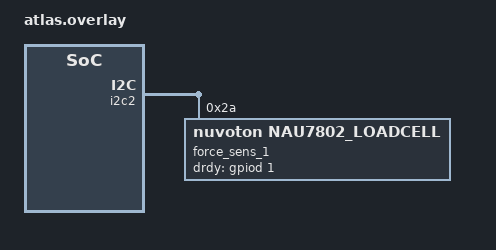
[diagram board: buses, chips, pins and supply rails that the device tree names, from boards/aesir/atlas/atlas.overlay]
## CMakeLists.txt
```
cmake_minimum_required(VERSION 3.20.0)

set(BOARD_ROOT ${CMAKE_CURRENT_LIST_DIR})
set(BOARD atlas)
set(DTC_OVERLAY_FILE ${CMAKE_CURRENT_LIST_DIR}/boards/aesir/atlas/atlas.overlay)

find_package(Zephyr)
project(atlas)


target_sources(app PRIVATE src/test.c)
```

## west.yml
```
manifest:
  remotes:
    - name: zephyrproject
      url-base: https://github.com/zephyrproject-rtos
    - name: zephyr_macos_stm32prog
      url-base: https://github.com/PepperoniPingu/

  projects:
    - name: zephyr
      remote: zephyr_macos_stm32prog
      revision: v4.2.0-macos-stm32prog
      path: ext/zephyr
      west-commands: scripts/west-commands.yml

    - name: cmsis
      remote: zephyrproject
      revision: 512cc7e895e8491696b61f7ba8066b4a182569b8
      path: ext/zephyr/modules/hal/cmsis
    - name: cmsis_6
      remote: zephyrproject
      repo-path: CMSIS_6
      revision: 06d952b6713a2ca41c9224a62075e4059402a151
      path: ext/zephyr/modules/hal/cmsis_6

    - name: hal_stm32
      remote: zephyrproject
      revision: 1e753266ddfb4b07a8a0b1ec566e9637ea45d5ef
      path: ext/zephyr/modules/hal/stm32

    # out of tree device driver
    - name: NAU7802_LOADCELL
      path: ext/modules/nau7802_loadcell
      revision: main
      url: https://github.com/TinNotTim/nau7802_loadcell_zephyr_driver

  self:
    path: .
```

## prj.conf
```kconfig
CONFIG_SERIAL=y
CONFIG_CONSOLE=y
CONFIG_UART_CONSOLE=y
CONFIG_UART_LINE_CTRL=y
CONFIG_USE_SEGGER_RTT=y
CONFIG_LOG_BACKEND_RTT=y


CONFIG_LOG=y
CONFIG_LOG_MODE_DEFERRED=y
CONFIG_LOG_PROCESS_TRIGGER_THRESHOLD=1
CONFIG_LOG_BUFFER_SIZE=4096

# Enable USB CDC console
CONFIG_USB_DEVICE_STACK=y
CONFIG_USB_DEVICE_PRODUCT="atlas load cell reader"
CONFIG_USB_DEVICE_VID=0x6969
CONFIG_USB_DEVICE_PID=0x6969
CONFIG_USB_CDC_ACM=y
CONFIG_USB_DEVICE_INITIALIZE_AT_BOOT=y
CONFIG_USB_CDC_ACM_LOG_LEVEL_DBG=y

CONFIG_CAN=y
CONFIG_CAN_FD_MODE=y

#NAU7802 LOADCELL
CONFIG_SENSOR=y
CONFIG_NAU7802_LOADCELL=y
# Interrupt triggered configuration
#CONFIG_NAU7802_LOADCELL_TRIGGER_NONE=y
#CONFIG_NAU7802_LOADCELL_TRIGGER_OWN_THREAD=y
CONFIG_NAU7802_LOADCELL_TRIGGER_GLOBAL_THREAD=y
#CONFIG_NAU7802_LOADCELL_TRIGGER_DIRECT=y
```

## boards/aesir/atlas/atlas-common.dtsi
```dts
/*
 * Copyright (c) 2021 Linaro Limited
 * Copyright (c) 2024 STMicroelectronics
 *
 * SPDX-License-Identifier: Apache-2.0
 */

#include <st/u5/stm32u575Xi.dtsi>
#include <st/u5/stm32u575zitxq-pinctrl.dtsi>
#include <zephyr/dt-bindings/input/input-event-codes.h>

&clk_hsi48 {
	status = "okay";
};

&clk_lse {
	status = "okay";
};

&clk_msis {
	status = "okay";
	msi-range = <4>;
	msi-pll-mode;
};

&pll1 {
	div-m = <1>;
	mul-n = <80>;
	div-q = <2>;
	div-r = <2>;
	clocks = <&clk_msis>;
	status = "okay";
};

&rcc {
	clocks = <&pll1>;
	clock-frequency = <DT_FREQ_M(160)>;
	ahb-prescaler = <1>;
	apb1-prescaler = <1>;
	apb2-prescaler = <1>;
	apb3-prescaler = <1>;
};

&lpuart1 {
	pinctrl-0 = <&lpuart1_tx_pg7 &lpuart1_rx_pg8>;
	pinctrl-names = "default";
	current-speed = <115200>;
	status = "okay";
};

&usart2 {
	pinctrl-0 = <&usart2_tx_pd5 &usart2_rx_pd6>;
	pinctrl-names = "default";
	current-speed = <115200>;
	status = "okay";
};

&i2c1 {
	pinctrl-0 = <&i2c1_scl_pb8 &i2c1_sda_pb9>;
	pinctrl-names = "default";
	status = "okay";
	clock-frequency = <I2C_BITRATE_FAST>;
};

&i2c2 {
	pinctrl-0 = <&i2c2_scl_pf1 &i2c2_sda_pf0>;
	pinctrl-names = "default";
	status = "okay";
	clock-frequency = <I2C_BITRATE_FAST>;
};

&spi1 {
	pinctrl-0 = <&spi1_nss_pa4 &spi1_sck_pa5
		     &spi1_miso_pa6 &spi1_mosi_pa7>;
	pinctrl-names = "default";
	status = "okay";
};

&dac1 {
	/* CAUTION: DAC on PA4 may conflict with SPI1 NSS on same pin */
	pinctrl-0 = <&dac1_out1_pa4>;
	pinctrl-names = "default";
	status = "okay";
};

&adc1 {
	pinctrl-0 = <&adc1_in1_pc0>;
	pinctrl-names = "default";
	st,adc-clock-source = "ASYNC";
	st,adc-prescaler = <4>;
	status = "okay";
};

&adc4 {
	pinctrl-0 = <&adc4_in18_pb0>;
	pinctrl-names = "default";
	st,adc-clock-source = "ASYNC";
	st,adc-prescaler = <4>;
	status = "okay";
};

&timers3 {
	st,prescaler = <10000>;
	status = "okay";

	pwm3: pwm {
	pinctrl-0 = <&tim3_ch2_pc7>;
		pinctrl-names = "default";
		status = "okay";
	};
};

&timers4 {
	st,prescaler = <10000>;
	status = "okay";

	pwm4: pwm {
		pinctrl-0 = <&tim4_ch2_pb7>;
		pinctrl-names = "default";
		status = "okay";
	};
};

&iwdg {
	status = "okay";
};

&rng {
	status = "okay";
};

zephyr_udc0: &usbotg_fs {
	pinctrl-0 = <&usb_otg_fs_dm_pa11 &usb_otg_fs_dp_pa12>;
	pinctrl-names = "default";
	status = "okay";
};

&fdcan1 {
	clocks = <&rcc STM32_CLOCK_BUS_APB1_2 0x00000200>,
		 <&rcc STM32_SRC_PLL1_Q FDCAN1_SEL(1)>;
	pinctrl-0 = <&fdcan1_rx_pd0 &fdcan1_tx_pd1>;
	pinctrl-names = "default";
	status = "okay";
};

&rtc {
	clocks = <&rcc STM32_CLOCK_BUS_APB3 0x00200000>,
		 <&rcc STM32_SRC_LSE RTC_SEL(1)>;
	status = "okay";
};

&vref1 {
	status = "okay";
};

&vbat4 {
	status = "okay";
};

&clk_lsi {
	status = "okay";
};

stm32_lp_tick_source: &lptim1 {
	clocks = <&rcc STM32_CLOCK_BUS_APB3 0x00000800>,
		 <&rcc STM32_SRC_LSI LPTIM1_SEL(1)>;
	status = "okay";
};
```

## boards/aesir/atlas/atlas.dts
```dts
/dts-v1/;
#include "atlas-common.dtsi"

/ {
	model = "aesir atlas load cell";

	#address-cells = <1>;
	#size-cells = <1>;

	chosen {
		zephyr,console = &cdc_acm_uart0;
		zephyr,sram = &sram0;
		zephyr,flash = &flash0;
		zephyr,canbus = &fdcan1;
	};

	leds {
        compatible = "gpio-leds";

        led_io: led_io {
            gpios = <&gpioa 9 GPIO_ACTIVE_HIGH>;
            label = "Green IO LED";
        };
    };
};

&zephyr_udc0 {
	cdc_acm_uart0: cdc_acm_uart0 {
		compatible = "zephyr,cdc-acm-uart";
		label = "CDC_ACM_0";
	};
	status = "okay";
};

&gpdma1 {
	status = "okay";
};

&die_temp {
	status = "okay";
};
```

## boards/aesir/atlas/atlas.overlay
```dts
&i2c2 {

	status = "okay";

	force_sens_1: nau7802_loadcell@2A {
		// label = "NAU7802_1";
		compatible = "nuvoton,nau7802_loadcell";
		reg = <0x2A>;
		drdy-gpios = <&gpiod 1 GPIO_ACTIVE_HIGH>;
		conversions-per-second = <320>; //SPS
		gain = <128>;
	};
};
```

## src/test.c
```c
#include <zephyr/drivers/gpio.h>
#include <zephyr/drivers/sensor.h>
#include <zephyr/drivers/i2c.h>
#include <zephyr/logging/log.h>
/* this is for getting the SENSOR_CHAN_FORCE*/
#include "../modules/nau7802_loadcell/drivers/sensor/nau7802_loadcell/nau7802_loadcell.h"

/* Declare the membership in registered logging module*/
LOG_MODULE_REGISTER(LOADCELL_TEST, CONFIG_SENSOR_LOG_LEVEL);

static int process_sensor_value(const struct device *dev)
{
	struct sensor_value force;
	int ret;

	ret = sensor_sample_fetch(dev);
	if (ret != 0) {
		LOG_ERR("ret: %d, Sensor sample update error", ret);
		return ret;
	}

	ret = sensor_channel_get(dev, SENSOR_CHAN_FORCE, &force);
	if (ret != 0) {
		LOG_ERR("ret: %d, Cannot read NAU7802 force channelr", ret);
		return ret;
	}

	LOG_INF("Force:%f", sensor_value_to_double(&force));
	return 0;
}

static void nau7802_loadcell_handler(const struct device *dev,
			   const struct sensor_trigger *trig)
{
	process_sensor_value(dev);
}

void test_loadcell(void)
{
    	/* Get the device pointer to nau7802 sensor*/
	const struct device *const nau7802 = DEVICE_DT_GET_ONE(nuvoton_nau7802_loadcell);

	if (!device_is_ready(nau7802)) {
		LOG_ERR("sensor: device not ready.");
		return;
	}

	/* set the offset and calibration factor*/
	float32_t offset = 2.505000511475965652e+01;
	float32_t calibFactor = 6.527824679590503775e-06;
	struct sensor_value offset_attri;
	struct sensor_value calib_attri;

	/* Currently don't have a good way to pass floating point value to the sensor driver*/
	/* Use the memcpy to do bit-to-bit copy, from float32_t to int32_t*/
	memcpy(&offset_attri.val1, &offset, sizeof(offset));
	memcpy(&calib_attri.val1, &calibFactor, sizeof(calibFactor));

	if(sensor_attr_set(nau7802, SENSOR_CHAN_FORCE, SENSOR_ATTR_OFFSET, &offset_attri) != 0){
		LOG_ERR("Cannot configure the offset");
		return;
	}

	if(sensor_attr_set(nau7802, SENSOR_CHAN_FORCE, SENSOR_ATTR_CALIBRATION, &calib_attri) != 0){
		LOG_ERR("Cannot configure the offset");
		return;
	}

	/* Set the tragger type and handler function if needed*/
	if (IS_ENABLED(CONFIG_NAU7802_LOADCELL_TRIGGER)) {
		struct sensor_trigger trig = {
			.type = SENSOR_TRIG_DATA_READY,
			.chan = SENSOR_CHAN_ALL,
		};
		if (sensor_trigger_set(nau7802, &trig, nau7802_loadcell_handler) < 0) {
			LOG_ERR("Cannot configure trigger");
			return;
		}
	}
	
	while (!IS_ENABLED(CONFIG_NAU7802_LOADCELL_TRIGGER)) {
		process_sensor_value(nau7802);
		k_sleep(K_MSEC(2000));
	}
	k_sleep(K_FOREVER);


}

int main() {
	test_loadcell();
	return 0;
}
```
